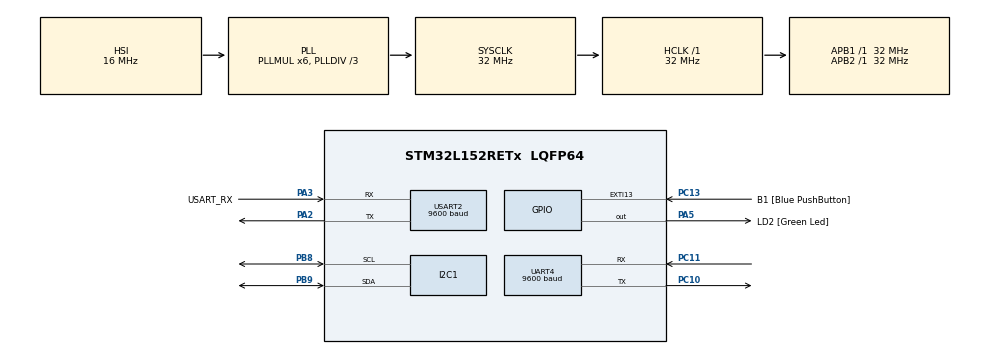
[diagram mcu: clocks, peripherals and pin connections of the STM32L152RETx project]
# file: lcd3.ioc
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Mcu.Family=STM32L1
Mcu.Name=STM32L152RETx
Mcu.Package=LQFP64
NVIC.PriorityGroup=NVIC_PRIORITYGROUP_0
PA1.Signal=USART2_RTS
PA13.GPIO_Label=TMS
PA13.Mode=Serial_Wire
PA13.Signal=SYS_JTMS-SWDIO
PA14.GPIO_Label=TCK
PA14.Mode=Serial_Wire
PA14.Signal=SYS_JTCK-SWCLK
PA2.Mode=Asynchronous
PA2.Signal=USART2_TX
PA3.GPIO_Label=USART_RX
PA3.Mode=Asynchronous
PA3.Signal=USART2_RX
PA5.GPIO_Label=LD2 [Green Led]
PA5.Signal=GPIO_Output
PB3.GPIO_Label=SWO
PB3.Signal=SYS_JTDO-TRACESWO
PB8.GPIO_Pu=GPIO_PULLUP
PB8.Mode=I2C
PB8.Signal=I2C1_SCL
PB9.GPIO_Pu=GPIO_PULLUP
PB9.Mode=I2C
PB9.Signal=I2C1_SDA
PC10.Mode=Asynchronous
PC10.Signal=UART4_TX
PC11.Mode=Asynchronous
PC11.Signal=UART4_RX
PC13-WKUP2.GPIO_Label=B1 [Blue PushButton]
PC13-WKUP2.Signal=GPXTI13
PC14-OSC32_IN.Mode=LSE-External-Oscillator
PC14-OSC32_IN.Signal=RCC_OSC32_IN
PC15-OSC32_OUT.Mode=LSE-External-Oscillator
PC15-OSC32_OUT.Signal=RCC_OSC32_OUT
PH0-OSC_IN.Mode=HSE-External-Clock-Source
PH0-OSC_IN.Signal=RCC_OSC_IN
PH1-OSC_OUT.Signal=RCC_OSC_OUT
ProjectManager.HeapSize=0x200
ProjectManager.StackSize=0x400
ProjectManager.TargetToolchain=STM32CubeIDE
RCC.48MHZClocksFreq_Value=48000000
RCC.AHBFreq_Value=32000000
RCC.APB1Freq_Value=32000000
RCC.APB1TimFreq_Value=32000000
RCC.APB2Freq_Value=32000000
RCC.APB2TimFreq_Value=32000000
RCC.HCLKFreq_Value=32000000
RCC.HSE_VALUE=8000000
RCC.HSI_VALUE=16000000
RCC.MSI_VALUE=2097000
RCC.PLLDIV=RCC_PLL_DIV3
RCC.PLLMUL=RCC_PLL_MUL6
RCC.RTCClockSelectionVirtual=RCC_RTCCLKSOURCE_LSE
RCC.SYSCLKFreq_VALUE=32000000
RCC.SYSCLKSource=RCC_SYSCLKSOURCE_PLLCLK
RCC.USBOutput=48000000
RCC.VCOOutputFreq_Value=96000000
UART4.BaudRate=9600
UART4.VirtualMode=Asynchronous
USART2.BaudRate=9600
USART2.VirtualMode=VM_ASYNC
board=NUCLEO-L152RE

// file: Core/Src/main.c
/* USER CODE BEGIN Header */
/**
  ******************************************************************************
  * @file           : main.c
  * @brief          : Main program body
  ******************************************************************************
  ** This notice applies to any and all portions of this file
  * that are not between comment pairs USER CODE BEGIN and
  * USER CODE END. Other portions of this file, whether
  * inserted by the user or by software development tools
  * are owned by their respective copyright owners.
  *
  * COPYRIGHT(c) 2019 STMicroelectronics
  *
  * Redistribution and use in source and binary forms, with or without modification,
  * are permitted provided that the following conditions are met:
  *   1. Redistributions of source code must retain the above copyright notice,
  *      this list of conditions and the following disclaimer.
  *   2. Redistributions in binary form must reproduce the above copyright notice,
  *      this list of conditions and the following disclaimer in the documentation
  *      and/or other materials provided with the distribution.
  *   3. Neither the name of STMicroelectronics nor the names of its contributors
  *      may be used to endorse or promote products derived from this software
  *      without specific prior written permission.
  *
  * THIS SOFTWARE IS PROVIDED BY THE COPYRIGHT HOLDERS AND CONTRIBUTORS "AS IS"
  * AND ANY EXPRESS OR IMPLIED WARRANTIES, INCLUDING, BUT NOT LIMITED TO, THE
  * IMPLIED WARRANTIES OF MERCHANTABILITY AND FITNESS FOR A PARTICULAR PURPOSE ARE
  * DISCLAIMED. IN NO EVENT SHALL THE COPYRIGHT HOLDER OR CONTRIBUTORS BE LIABLE
  * FOR ANY DIRECT, INDIRECT, INCIDENTAL, SPECIAL, EXEMPLARY, OR CONSEQUENTIAL
  * DAMAGES (INCLUDING, BUT NOT LIMITED TO, PROCUREMENT OF SUBSTITUTE GOODS OR
  * SERVICES; LOSS OF USE, DATA, OR PROFITS; OR BUSINESS INTERRUPTION) HOWEVER
  * CAUSED AND ON ANY THEORY OF LIABILITY, WHETHER IN CONTRACT, STRICT LIABILITY,
  * OR TORT (INCLUDING NEGLIGENCE OR OTHERWISE) ARISING IN ANY WAY OUT OF THE USE
  * OF THIS SOFTWARE, EVEN IF ADVISED OF THE POSSIBILITY OF SUCH DAMAGE.
  *
  ******************************************************************************
  */
/* USER CODE END Header */
#include "main.h"
#include "i2c.h"
#include "usart.h"
#include "gpio.h"

/* USER CODE BEGIN Includes */
#include "lib_lcd.h"
#include "caracter.h"
#include "outils.h"
#include "TMP_i2c.h"
#include <string.h>
#include <stdio.h>
/* USER CODE END Includes */

/* USER CODE BEGIN PTD */
static rgb_lcd lcdData;
/* USER CODE END PTD */

/* USER CODE BEGIN PV */

static uint8_t device_ID[] = "002";

/* USER CODE END PV */

void SystemClock_Config(void);

int main(void)
{
  /* USER CODE BEGIN 1 */

	  uint8_t send_buffer[100] ="";
	  uint8_t temp[128] = "";

	  char res [10];
	  float temperature=0;
	  float humidity=0;

  /* USER CODE END 1 */

  /* MCU Configuration--------------------------------------------------------*/

  /* Reset of all peripherals, Initializes the Flash interface and the Systick. */
  HAL_Init();

  /* Configure the system clock */
  SystemClock_Config();

  /* Initialize all configured peripherals */
  MX_GPIO_Init();
  MX_I2C1_Init();
  MX_UART4_Init();
  MX_USART2_UART_Init();
  /* USER CODE BEGIN 2 */

  /* -------- AFFICHAGE--------*/

  lcd_init(&hi2c1, &lcdData); // initialise le lcd
  lcd_position(&hi2c1,0,0);
  lcd_print(&hi2c1,"Temperature ");// ecris "temperature" sur le lcd
  lcd_position(&hi2c1,0,1);
  lcd_print(&hi2c1,"Humidite: ");// ecris "Humidité " sur le lcd
  reglagecouleur(50,50,9);

  TMP_init(hi2c1);
  /* USER CODE END 2 */

  /* Infinite loop */
  while (1)
  {

    /* USER CODE BEGIN 3 */

	  	  Temp_read(&temperature, &humidity);

	  	  ftoat (temperature,res,1);
	  	  lcd_position(&hi2c1,12,0);
	  	  lcd_print(&hi2c1,res);

	  	  ftoat (humidity,res,1);
	  	  lcd_position(&hi2c1,10,1);
	  	  lcd_print(&hi2c1,res);

	  	  print("la temperature est =%f\n\r ", temperature);
	  	  print("l'humidité est =%f\n\r ", humidity);
	  	  HAL_Delay(1000);

	  	/* -------- Envoi de données via XBEE--------*/

	  	  char send_buffer[100];

          memset(send_buffer,0, sizeof(send_buffer));
          strcat((char *)send_buffer,"$");

          memset(temp,0, sizeof(temp));
          sprintf((char *)temp,"&i=%s", device_ID);
          strcat((char *)send_buffer,(char *)temp);

          memset(temp,0, sizeof(temp));
          sprintf((char *)temp,"&t=%.2f", temperature);
          strcat((char *)send_buffer,(char *)temp);

          memset(temp,0, sizeof(temp));
          sprintf((char *)temp,"&h=%.2f", humidity);
          strcat((char *)send_buffer,(char *)temp);
          strcat((char *)send_buffer,(char *)"\r\n");

          HAL_UART_Transmit(&huart4,(uint8_t*)send_buffer, strlen((char *)send_buffer),100);

          HAL_Delay(1000);

  }
  /* USER CODE END 3 */
}

void SystemClock_Config(void)
{
  RCC_OscInitTypeDef RCC_OscInitStruct = {0};
  RCC_ClkInitTypeDef RCC_ClkInitStruct = {0};

  /** Configure the main internal regulator output voltage
  */
  __HAL_PWR_VOLTAGESCALING_CONFIG(PWR_REGULATOR_VOLTAGE_SCALE1);
  /** Initializes the RCC Oscillators according to the specified parameters
  * in the RCC_OscInitTypeDef structure.
  */
  RCC_OscInitStruct.OscillatorType = RCC_OSCILLATORTYPE_HSI;
  RCC_OscInitStruct.HSIState = RCC_HSI_ON;
  RCC_OscInitStruct.HSICalibrationValue = RCC_HSICALIBRATION_DEFAULT;
  RCC_OscInitStruct.PLL.PLLState = RCC_PLL_ON;
  RCC_OscInitStruct.PLL.PLLSource = RCC_PLLSOURCE_HSI;
  RCC_OscInitStruct.PLL.PLLMUL = RCC_PLL_MUL6;
  RCC_OscInitStruct.PLL.PLLDIV = RCC_PLL_DIV3;
  if (HAL_RCC_OscConfig(&RCC_OscInitStruct) != HAL_OK)
  {
    Error_Handler();
  }
  /** Initializes the CPU, AHB and APB buses clocks
  */
  RCC_ClkInitStruct.ClockType = RCC_CLOCKTYPE_HCLK|RCC_CLOCKTYPE_SYSCLK
                              |RCC_CLOCKTYPE_PCLK1|RCC_CLOCKTYPE_PCLK2;
  RCC_ClkInitStruct.SYSCLKSource = RCC_SYSCLKSOURCE_PLLCLK;
  RCC_ClkInitStruct.AHBCLKDivider = RCC_SYSCLK_DIV1;
  RCC_ClkInitStruct.APB1CLKDivider = RCC_HCLK_DIV1;
  RCC_ClkInitStruct.APB2CLKDivider = RCC_HCLK_DIV1;

  if (HAL_RCC_ClockConfig(&RCC_ClkInitStruct, FLASH_LATENCY_1) != HAL_OK)
  {
    Error_Handler();
  }
}

void Error_Handler(void)
{
}
